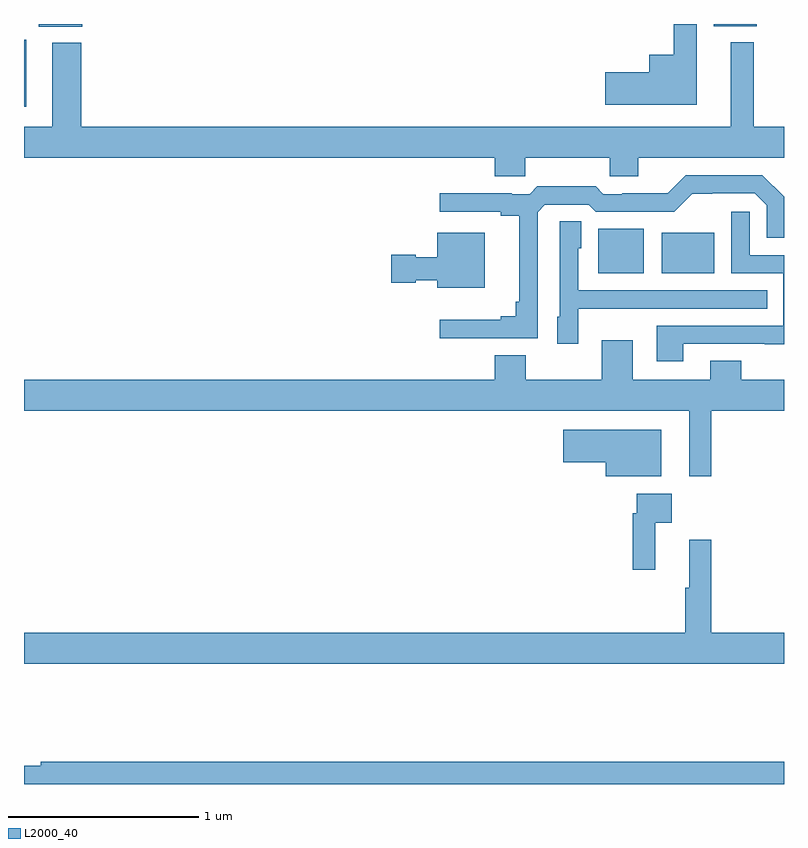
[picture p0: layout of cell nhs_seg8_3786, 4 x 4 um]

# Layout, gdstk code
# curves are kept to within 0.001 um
import gdstk
lib = gdstk.Library(unit=1e-6, precision=1e-09)
def R(c, l, rs):  # rectangles x0, y0, x1, y1
    for r in rs: c.add(gdstk.rectangle(r[:2], r[2:], *l))
def P(c, l, *ps):  # polygons
    for p in ps: c.add(gdstk.Polygon(p, *l))
L2000_40 = (2000, 40)

nhs_seg8_3786 = lib.new_cell('nhs_seg8_3786')
R(nhs_seg8_3786, L2000_40, [(348.023,1086.587,348.262,1086.823), (348.356,1086.587,348.634,1086.802), (345,1087.464,345.013,1087.816), (345.077,1087.886,345.306,1087.9), (348.629,1087.889,348.856,1087.9)])
P(nhs_seg8_3786, L2000_40, [(348.541,1087.9),(348.42,1087.9),(348.42,1087.738),(348.29,1087.738),(348.29,1087.646),(348.06,1087.646),(348.06,1087.475),(348.541,1087.475)],
  [(347.637,1087.196),(348.082,1087.196),(348.082,1087.098),(348.232,1087.098),(348.232,1087.196),(349,1087.196),(349,1087.36),(348.841,1087.36),(348.841,1087.804),(348.719,1087.804),(348.719,1087.36),(345.302,1087.36),(345.302,1087.801),(345.149,1087.801),(345.149,1087.36),(345,1087.36),(345,1087.196),(347.477,1087.196),(347.477,1087.098),(347.637,1087.098)],
  [(347.703,1086.909),(347.742,1086.948),(347.973,1086.948),(348.009,1086.912),(348.423,1086.912),(348.518,1087.007),(348.846,1087.008),(348.909,1086.945),(348.909,1086.774),(349,1086.774),(349,1086.991),(348.886,1087.104),(348.483,1087.104),(348.389,1087.01),(348.148,1087.01),(348.148,1087.005),(348.048,1087.005),(348.009,1087.045),(347.701,1087.045),(347.661,1087.005),(347.567,1087.005),(347.567,1087.01),(347.187,1087.01),(347.187,1086.912),(347.51,1086.912),(347.51,1086.89),(347.606,1086.89),(347.606,1086.439),(347.587,1086.439),(347.587,1086.362),(347.51,1086.362),(347.51,1086.343),(347.187,1086.343),(347.187,1086.246),(347.703,1086.246)],
  [(348.469,1086.216),(348.899,1086.216),(348.899,1086.215),(349,1086.215),(349,1086.684),(348.819,1086.684),(348.819,1086.913),(348.723,1086.913),(348.723,1086.588),(348.996,1086.588),(348.996,1086.312),(348.329,1086.312),(348.329,1086.126),(348.469,1086.126)],
  [(347.916,1086.401),(348.233,1086.401),(348.233,1086.402),(348.911,1086.402),(348.911,1086.498),(347.916,1086.498),(347.916,1086.72),(347.932,1086.72),(347.932,1086.863),(347.82,1086.863),(347.82,1086.36),(347.807,1086.36),(347.807,1086.216),(347.916,1086.216)],
  [(347.425,1086.802),(347.174,1086.802),(347.174,1086.673),(347.061,1086.673),(347.061,1086.686),(346.932,1086.686),(346.932,1086.539),(347.061,1086.539),(347.061,1086.551),(347.174,1086.551),(347.174,1086.512),(347.425,1086.512)],
  [(348.617,1085.864),(349,1085.864),(349,1086.028),(348.775,1086.028),(348.775,1086.127),(348.611,1086.127),(348.611,1086.028),(348.205,1086.028),(348.205,1086.235),(348.041,1086.235),(348.041,1086.028),(347.641,1086.028),(347.641,1086.157),(347.477,1086.157),(347.477,1086.028),(345,1086.028),(345,1085.864),(348.5,1085.864),(348.5,1085.52),(348.617,1085.52)],
  [(348.355,1085.764),(347.838,1085.764),(347.838,1085.594),(348.062,1085.594),(348.062,1085.519),(348.355,1085.519)],
  [(348.323,1085.276),(348.409,1085.276),(348.409,1085.428),(348.225,1085.428),(348.225,1085.324),(348.205,1085.324),(348.205,1085.028),(348.323,1085.028)],
  [(349,1084.696),(348.617,1084.696),(348.617,1085.185),(348.5,1085.185),(348.5,1084.932),(348.481,1084.932),(348.481,1084.696),(345,1084.696),(345,1084.532),(349,1084.532)],
  [(349,1084.016),(345.088,1084.016),(345.088,1083.997),(345,1083.997),(345,1083.9),(349,1083.9)])

lib.write_gds('nhs_seg8_3786.gds')
